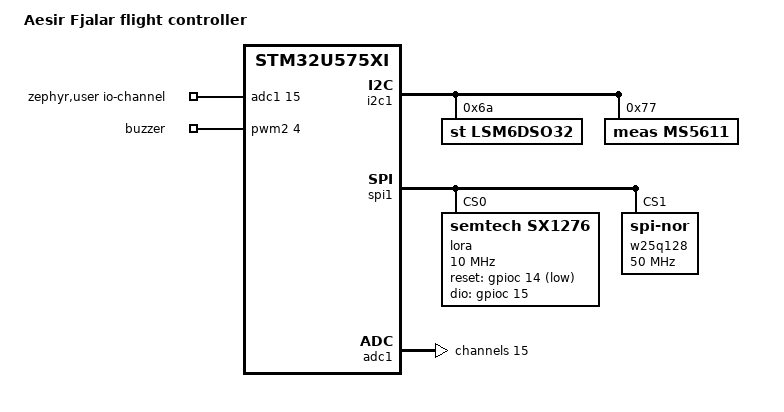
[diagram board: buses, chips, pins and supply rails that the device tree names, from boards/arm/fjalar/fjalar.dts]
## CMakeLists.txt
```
cmake_minimum_required(VERSION 3.20.0)

set(BOARD_ROOT ${CMAKE_CURRENT_LIST_DIR})


if(TEST_BUILD)
    set(EXTRA_CONF_FILE ${CMAKE_CURRENT_LIST_DIR}/testing/preferences.conf)
else()
    set(EXTRA_CONF_FILE ${CMAKE_CURRENT_LIST_DIR}/preferences.conf)
endif()

list(APPEND EXTRA_ZEPHYR_MODULES
    ${CMAKE_CURRENT_SOURCE_DIR}/modules/dummysensor
    ${CMAKE_CURRENT_SOURCE_DIR}/modules/hilsensor
    ${CMAKE_CURRENT_SOURCE_DIR}/modules/ms5611
)

find_package(Zephyr REQUIRED HINTS $ENV{ZEPHYR_BASE})

project(fjalar)

add_subdirectory(../common ../build/common)

add_subdirectory(lib)

# main
target_sources(app PRIVATE
    src/flight_state.c
    src/sensors.c
    src/communication.c
    src/commands.c
    src/actuation.c
    src/filter.c
    src/hello.cpp
    src/aerodynamics.c
)

if(TEST_BUILD)
    message(STATUS "Building test")
    target_sources(app PRIVATE
        testing/test_main.c
    )
else()
    message(STATUS "Building app")
    target_sources(app PRIVATE
        src/main.c
    )
endif()


target_link_libraries(app PRIVATE protocol)
target_link_libraries(app PRIVATE minmea)
```

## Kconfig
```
menu "Zephyr"
source "Kconfig.zephyr"
endmenu

rsource "../common/Kconfig"


config BUZZER_ENABLED
    bool "Enable buzzer"
    default y
config DELAYED_START
    bool "delay start"
    default n

choice
	prompt "Boot state"
	config BOOT_STATE_IDLE
		bool "boot to idle"
	config BOOT_STATE_LAUNCHPAD
		bool "boot to launchpad"
endchoice

config APP_SENSORS_LOG_LEVEL
    int "Application sensors log level"
    default 0 if APP_SENSORS_LOG_LEVEL_OFF
    default 1 if APP_SENSORS_LOG_LEVEL_ERR
    default 2 if APP_SENSORS_LOG_LEVEL_WRN
    default 3 if APP_SENSORS_LOG_LEVEL_INF
    default 4 if APP_SENSORS_LOG_LEVEL_DBG
    default 2
    depends on LOG

config APP_ACTUATION_LOG_LEVEL
    int "Application filter log level"
    default 0 if APP_ACTUATION_LOG_LEVEL_OFF
    default 1 if APP_ACTUATION_LOG_LEVEL_ERR
    default 2 if APP_ACTUATION_LOG_LEVEL_WRN
    default 3 if APP_ACTUATION_LOG_LEVEL_INF
    default 4 if APP_ACTUATION_LOG_LEVEL_DBG
    default 2
    depends on LOG

config APP_FILTER_LOG_LEVEL
    int "Application filter log level"
    default 0 if APP_FILTER_LOG_LEVEL_OFF
    default 1 if APP_FILTER_LOG_LEVEL_ERR
    default 2 if APP_FILTER_LOG_LEVEL_WRN
    default 3 if APP_FILTER_LOG_LEVEL_INF
    default 4 if APP_FILTER_LOG_LEVEL_DBG
    default 2
    depends on LOG

config APP_FLIGHT_LOG_LEVEL
    int "Application flight state log level"
    default 0 if APP_FLIGHT_LOG_LEVEL_OFF
    default 1 if APP_FLIGHT_LOG_LEVEL_ERR
    default 2 if APP_FLIGHT_LOG_LEVEL_WRN
    default 3 if APP_FLIGHT_LOG_LEVEL_INF
    default 4 if APP_FLIGHT_LOG_LEVEL_DBG
    default 2
    depends on LOG

config APP_MAIN_LOG_LEVEL
    int "Application main log level"
    default 0 if APP_MAIN_LOG_LEVEL_OFF
    default 1 if APP_MAIN_LOG_LEVEL_ERR
    default 2 if APP_MAIN_LOG_LEVEL_WRN
    default 3 if APP_MAIN_LOG_LEVEL_INF
    default 4 if APP_MAIN_LOG_LEVEL_DBG
    default 2
    depends on LOG


config APP_COMMANDS_LOG_LEVEL
    int "Application commands log level"
    default 0 if APP_COMMANDS_LOG_LEVEL_OFF
    default 1 if APP_COMMANDS_LOG_LEVEL_ERR
    default 2 if APP_COMMANDS_LOG_LEVEL_WRN
    default 3 if APP_COMMANDS_LOG_LEVEL_INF
    default 4 if APP_COMMANDS_LOG_LEVEL_DBG
    default 2
    depends on LOG


config APP_COMMUNICATION_LOG_LEVEL
    int "Application communication log level"
    default 0 if APP_COMMUNICATION_LOG_LEVEL_OFF
    default 1 if APP_COMMUNICATION_LOG_LEVEL_ERR
    default 2 if APP_COMMUNICATION_LOG_LEVEL_WRN
    default 3 if APP_COMMUNICATION_LOG_LEVEL_INF
    default 4 if APP_COMMUNICATION_LOG_LEVEL_DBG
    default 2
    depends on LOG
```

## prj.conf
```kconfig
# CONFIG_THREAD_ANALYZER=y
# CONFIG_THREAD_ANALYZER_USE_PRINTK=y
# CONFIG_THREAD_NAME=y
# CONFIG_THREAD_ANALYZER_AUTO=y
# CONFIG_THREAD_ANALYZER_AUTO_INTERVAL=5

CONFIG_LOG=y
# CONFIG_LOG_BACKEND_UART=n add when using USB to Fjalar instead of connecting to sensors
CONFIG_LOG_MODE_DEFERRED=y
CONFIG_LOG_BUFFER_SIZE=4096

CONFIG_ZSL=y
CONFIG_ZSL_SINGLE_PRECISION=y
CONFIG_ZSL_VECTOR_INLINE=y
CONFIG_ZSL_MATRIX_INLINE=y

CONFIG_DEBUG=y
CONFIG_DEBUG_OPTIMIZATIONS=y

CONFIG_ISR_STACK_SIZE=4096

CONFIG_CAN=y
CONFIG_CAN_FD_MODE=y

CONFIG_ZBUS=y
CONFIG_ZBUS_MSG_SUBSCRIBER=y

# I do not like heaps but idk
CONFIG_ZBUS_MSG_SUBSCRIBER_BUF_ALLOC_STATIC=y
CONFIG_ZBUS_MSG_SUBSCRIBER_NET_BUF_POOL_SIZE=32
CONFIG_ZBUS_MSG_SUBSCRIBER_NET_BUF_STATIC_DATA_SIZE=128

CONFIG_CRC=y

CONFIG_CPP=y

CONFIG_REQUIRES_FULL_LIBCPP=y

CONFIG_COMPILER_OPT="-Wno-double-promotion"
```

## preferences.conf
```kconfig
CONFIG_BUZZER_ENABLED=n

CONFIG_PROTOCOL_LOG_LEVEL_INF=y
CONFIG_MINMEA_LOG_LEVEL_INF=y
CONFIG_APP_ACTUATION_LOG_LEVEL_INF=y
CONFIG_APP_FILTER_LOG_LEVEL_INF=y
CONFIG_APP_FLIGHT_LOG_LEVEL_INF=y
CONFIG_APP_MAIN_LOG_LEVEL_INF=y
CONFIG_APP_SENSORS_LOG_LEVEL_INF=y
CONFIG_APP_COMMUNICATION_LOG_LEVEL_INF=y
CONFIG_APP_COMMANDS_LOG_LEVEL_INF=y
CONFIG_APP_AERODYNAMICS_LOG_LEVEL_INF=y

#CONFIG_DUMMYSENSOR_AESIR=n # bad venting
#CONFIG_DUMMYSENSOR_ASAT=y # bad venting
#CONFIG_DUMMYSENSOR_ASTG=y # mid venting, liquid
#CONFIG_DUMMYSENSOR_BRISTOL=y # mid venting, liquid
#CONFIG_DUMMYSENSOR_FARADAY=y # good venting, liquid
#CONFIG_DUMMYSENSOR_RED=y # very good venting
```

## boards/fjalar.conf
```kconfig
CONFIG_LOG=y
CONFIG_CBPRINTF_FP_SUPPORT=y

CONFIG_FPU=y
CONFIG_FPU_SHARING=y

CONFIG_SERIAL=y
# CONFIG_UART_INTERRUPT_DRIVEN=y
CONFIG_UART_WIDE_DATA=y
CONFIG_CONSOLE=y
CONFIG_UART_CONSOLE=y
CONFIG_POLL=y

CONFIG_I2C=y

CONFIG_GPIO=y

CONFIG_ADC=y

CONFIG_SENSOR=y
CONFIG_MS5611=y
# CONFIG_MS5607=y
# CONFIG_MS5607_PRES_OVER_2048X=y
# CONFIG_MS5607_TEMP_OVER_2048X=y

CONFIG_LSM6DSO=y

CONFIG_SPI=y
CONFIG_FLASH=y

CONFIG_PWM=y
CONFIG_LED=y

CONFIG_LORA=y
CONFIG_LORA_SX127X=y
CONFIG_LORA_LOG_LEVEL_DBG=y

CONFIG_NEWLIB_LIBC=y # for trigonometric functions

CONFIG_BOOT_STATE_IDLE=y
CONFIG_DELAYED_START=y

CONFIG_SENSOR=y

CONFIG_USB_DEVICE_STACK=y
CONFIG_USB_DEVICE_PRODUCT="Fjalar Log"
CONFIG_USB_DEVICE_PID=0x0004
CONFIG_USB_DEVICE_INITIALIZE_AT_BOOT=y


CONFIG_PM=y
```

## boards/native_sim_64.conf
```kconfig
CONFIG_LOG=y
CONFIG_CBPRINTF_FP_SUPPORT=y

CONFIG_SERIAL=y
CONFIG_CONSOLE=y
CONFIG_UART_CONSOLE=y
CONFIG_POLL=y

CONFIG_GPIO=y

CONFIG_I2C=y

CONFIG_SENSOR=y

CONFIG_SPI=y
CONFIG_FLASH=y

CONFIG_DUMMYSENSOR=y

# CONFIG_PWM=y

CONFIG_UART_NATIVE_POSIX=y
CONFIG_UART_NATIVE_POSIX_PORT_1_ENABLE=y
# CONFIG_NATIVE_UART_1_ON_OWN_PTY=y

# CONFIG_NATIVE_UART_0_ON_OWN_PTY=y
# CONFIG_NATIVE_UART_0_ON_STDINOUT=y
CONFIG_SYS_CLOCK_TICKS_PER_SEC=1000

CONFIG_DEBUG=y
CONFIG_DEBUG_OPTIMIZATIONS=y

CONFIG_BOOT_STATE_LAUNCHPAD=y
# CONFIG_FUSE_FS_ACCESS=y

CONFIG_DELAYED_START=n

CONFIG_USB_DEVICE_STACK=y
CONFIG_USB_DEVICE_PRODUCT="Fjalar Log"
CONFIG_USB_DEVICE_PID=0x0004

CONFIG_FLASH_SIMULATOR=y
```

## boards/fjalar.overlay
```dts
/ {
    chosen {
        zephyr,console = &cdc_acm_uart0;
        zephyr,shell = &cdc_acm_uart0;
    };

    aliases {
		io-led = &ioled;
        imu = &lsm6dso32;
        barometer = &ms5611;
		main-usb = &usbotg_fs;
		pyro1 = &pyro1;
		pyro2 = &pyro2;
		pyro3 = &pyro3;
		pyro1-sense = &pyro1_sense;
		pyro2-sense = &pyro2_sense;
		pyro3-sense = &pyro3_sense;
        data-usb = &cdc_acm_uart1;
    };
};


&lsm6dso32 {
    gyro-odr = <4>; //104Hz
    accel-odr = <4>; //104Hz
    accel-range = <1>; //16g
    gyro-range = <6>; //2000dps
    accel-pm = <0>; //high performance
    gyro-pm = <0>; //high performance
};


&usbotg_fs {
    cdc_acm_uart0: cdc_acm_uart0 {
        compatible = "zephyr,cdc-acm-uart";
    };
    cdc_acm_uart1: cdc_acm_uart1 {
        compatible = "zephyr,cdc-acm-uart";
    };
};
```

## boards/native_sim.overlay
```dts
/ {
    chosen {
        // zephyr,console = &uart0;
		// zephyr,shell-uart = &uart0;
    };
    aliases {
        imu = &dummysensor;
        barometer = &dummysensor;
        external-uart = &uart1;
        io-led = &ioled;
        main-usb = &zephyr_udc0;
        pyro1 = &pyro1;
        pyro2 = &pyro2;
        pyro3 = &pyro3;
        pyro1-sense = &pyro1_sense;
        pyro2-sense = &pyro2_sense;
        pyro3-sense = &pyro3_sense;
        // data-flash = &flashsim;
    };

    dummysensor: dummysensor { 
        compatible = "aesir,hilsensor";
        status = "okay";
        // to be changed ltr
    };

    leds {
		compatible = "gpio-leds";
		ioled: io_led {
			gpios = <&gpio0 6 GPIO_ACTIVE_HIGH>;
		};
	};

    pyros {
        compatible = "gpio-leds";
        pyro1: pyro_1 {
            gpios = <&gpio0 13 GPIO_ACTIVE_HIGH>;
        };
        pyro2: pyro_2 {
            gpios = <&gpio0 12 GPIO_ACTIVE_HIGH>;
        };
        pyro3: pyro_3 {
            gpios = <&gpio0 2 GPIO_ACTIVE_HIGH>;
        };
    };

	pyro_sense {
		compatible = "gpio-keys";
		pyro1_sense: pyro1_sense {
			gpios = <&gpio0 8 GPIO_ACTIVE_LOW>;
		};
		pyro2_sense: pyro2_sense {
			gpios = <&gpio0 15 GPIO_ACTIVE_LOW>;
		};
		pyro3_sense: pyro3_sense {
			gpios = <&gpio0 2 GPIO_ACTIVE_LOW>;
		};
	};

    // flashsim: flashsim {
	// 	status = "okay";
	// 	compatible = "zephyr,sim-flash";
    //     erase-value = <0xff>;
	// 	// size = <0x8000000>;
	// };
};
```

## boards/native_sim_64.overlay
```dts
/ {
    chosen {
        // zephyr,console = &uart0;
		// zephyr,shell-uart = &uart0;
    };
    aliases {
        imu = &dummysensor;
        barometer = &dummysensor;
        external-uart = &uart1;
        io-led = &ioled;
        main-usb = &zephyr_udc0;
        pyro1 = &pyro1;
        pyro2 = &pyro2;
        pyro3 = &pyro3;
        pyro1-sense = &pyro1_sense;
        pyro2-sense = &pyro2_sense;
        pyro3-sense = &pyro3_sense;
        // data-flash = &flashsim;
    };

    dummysensor: dummysensor {
        compatible = "aesir,dummysensor";
        status = "okay";
    };

    leds {
		compatible = "gpio-leds";
		ioled: io_led {
			gpios = <&gpio0 6 GPIO_ACTIVE_HIGH>;
		};
	};

    pyros {
        compatible = "gpio-leds";
        pyro1: pyro_1 {
            gpios = <&gpio0 13 GPIO_ACTIVE_HIGH>;
        };
        pyro2: pyro_2 {
            gpios = <&gpio0 12 GPIO_ACTIVE_HIGH>;
        };
        pyro3: pyro_3 {
            gpios = <&gpio0 2 GPIO_ACTIVE_HIGH>;
        };
    };

	pyro_sense {
		compatible = "gpio-keys";
		pyro1_sense: pyro1_sense {
			gpios = <&gpio0 8 GPIO_ACTIVE_LOW>;
		};
		pyro2_sense: pyro2_sense {
			gpios = <&gpio0 15 GPIO_ACTIVE_LOW>;
		};
		pyro3_sense: pyro3_sense {
			gpios = <&gpio0 2 GPIO_ACTIVE_LOW>;
		};
	};

    // flashsim: flashsim {
	// 	status = "okay";
	// 	compatible = "zephyr,sim-flash";
    //     erase-value = <0xff>;
	// 	// size = <0x8000000>;
	// };
};
```

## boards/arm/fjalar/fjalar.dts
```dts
/dts-v1/;

#include <st/u5/stm32u575Xi.dtsi>
#include <st/u5/stm32u575zitxq-pinctrl.dtsi>
#include "fjalar.dtsi"

/ {

    model = "Aesir Fjalar flight controller";
	compatible = "aesir,fjalar";

	#address-cells = <1>;
	#size-cells = <1>;

	chosen {
		zephyr,console = &uart4;
		zephyr,shell-uart = &uart4;
		zephyr,sram = &sram0;
		zephyr,flash = &flash0;
		zephyr,canbus = &fdcan1;
	};

    aliases {
		led0 = &ioled;
		external-uart = &uart4;
		data-flash = &w25q128;
		gps-uart = &usart1;
		buzzer = &buzzer;
		lora = &lora;

	};

	zephyr,user {
		battery-denominator = <2200>;
		battery-numerator = <12200>;
		io-channels = <&adc1 15>;
	};

	pwmleds: pwmleds {
		compatible = "pwm-leds";
		status = "okay";

		buzzer: buzzer {
			pwms = <&pwm2 4 PWM_MSEC(20) PWM_POLARITY_NORMAL>;
		};
	};
};

&i2c1 {
	lsm6dso32: lsm6dso32@6a {
		status = "okay";
		compatible = "st,lsm6dso32", "st,lsm6dso";
		reg = <0x6a>;
	};

	ms5611: ms5611@77 {
		status = "okay";
		compatible = "meas,ms5611";
		reg = <0x77>;
	};
};

&spi1 {
	lora: lora@0 {
		compatible ="semtech,sx1276";
		reg = <0>;
		spi-max-frequency = <10000000>;
		status = "okay";
		reset-gpios = <&gpioc 14 GPIO_ACTIVE_LOW>;
		dio-gpios = <&gpioc 15 GPIO_ACTIVE_HIGH>;
		power-amplifier-output = "pa-boost";
	};

	w25q128: w25q128@1 {
		compatible ="jedec,spi-nor";
		size = <0x8000000>;
		reg = <1>;
		spi-max-frequency = <50000000>;
		status = "okay";
		jedec-id = [ef 70 18];
	};
};

&adc1 {
	#address-cells = <1>;
	#size-cells = <0>;
	status = "okay";
	st,adc-prescaler = <1>;

	channel@F {
		reg = <15>; //15
		zephyr,gain = "ADC_GAIN_1";
		zephyr,reference = "ADC_REF_INTERNAL";
		zephyr,acquisition-time = <ADC_ACQ_TIME_DEFAULT>;
		zephyr,resolution = <14>;
		zephyr,oversampling = <4>;
		status = "okay";
	};
};
```

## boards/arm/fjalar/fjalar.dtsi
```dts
#include <st/u5/stm32u575Xi.dtsi>
#include <st/u5/stm32u575zitxq-pinctrl.dtsi>

/ {
	leds {
		compatible = "gpio-leds";
		ioled: io_led {
			gpios = <&gpioa 6 GPIO_ACTIVE_HIGH>;
		};
	};

    pyros {
        compatible = "gpio-leds";
        pyro1: pyro_1 {
            gpios = <&gpiob 2 GPIO_ACTIVE_HIGH>;
        };
        pyro2: pyro_2 {
            gpios = <&gpiob 12 GPIO_ACTIVE_HIGH>;
        };
        pyro3: pyro_3 {
            gpios = <&gpiob 13 GPIO_ACTIVE_HIGH>;
        };
    };

	pyro_sense {
		compatible = "gpio-keys";
		pyro1_sense: pyro1_sense {
			gpios = <&gpioa 2 GPIO_ACTIVE_LOW>;
		};
		pyro2_sense: pyro2_sense {
			gpios = <&gpiob 15 GPIO_ACTIVE_LOW>;
		};
		pyro3_sense: pyro3_sense {
			gpios = <&gpioa 8 GPIO_ACTIVE_LOW>;
		};
	};
};

&usbotg_fs {
	pinctrl-0 = <&usb_otg_fs_dm_pa11 &usb_otg_fs_dp_pa12>;
	pinctrl-names = "default";
	status = "okay";
};

&usart1 {
	pinctrl-0 = <&usart1_tx_pa9 &usart1_rx_pa10>;
	pinctrl-names = "default";
	current-speed = <9600>;
	status = "okay";
	gnss: gnss-nmea-generic {
			compatible = "gnss-nmea-generic";
	};
	gnss_pps: gnss-pss {
		compatible = "gnss-pps";
	};
};

&gpdma1 {
	status = "okay";
};

// &clk_hsi48 {
// 	status = "okay";
// };

// &clk_hse {
// 	status = "okay";
// 	clock-frequency = <DT_FREQ_M(48)>;
// };

// &clk_msis {
// 	status = "okay";
// 	msi-range = <4>;
// 	msi-pll-mode;
// };

// &pll1 {
// 	div-m = <3>;
// 	mul-n = <10>;
// 	div-q = <2>;
// 	div-r = <1>;
// 	clocks = <&clk_hse>;
// 	status = "okay";
// };

// &rcc {
// 	clocks = <&pll1>;
// 	clock-frequency = <DT_FREQ_M(160)>;
// 	ahb-prescaler = <1>;
// 	apb1-prescaler = <1>;
// 	apb2-prescaler = <1>;
// 	apb3-prescaler = <1>;
// };

&clk_hsi48 {
	status = "okay";
};

&clk_lse {
	status = "okay";
};

&clk_msis {
	status = "okay";
	msi-range = <4>;
	msi-pll-mode;
};

&pll1 {
	div-m = <1>;
	mul-n = <80>;
	div-q = <2>;
	div-r = <2>;
	clocks = <&clk_msis>;
	status = "okay";
};

&rcc {
	clocks = <&pll1>;
	clock-frequency = <DT_FREQ_M(160)>;
	ahb-prescaler = <1>;
	apb1-prescaler = <1>;
	apb2-prescaler = <1>;
	apb3-prescaler = <1>;
};

&uart4 {
    pinctrl-0 = <&uart4_tx_pa0 &uart4_rx_pa1>;
	pinctrl-names = "default";
	current-speed = <115200>;
	status = "okay";
};

&i2c1 {
	pinctrl-0 = <&i2c1_scl_pb6 &i2c1_sda_pb7>;
	pinctrl-names = "default";
	status = "okay";
	clock-frequency = <I2C_BITRATE_FAST>;
};

&i2c2 {
	pinctrl-0 = <&i2c2_scl_pb10 &i2c2_sda_pb14>;
	pinctrl-names = "default";
	status = "okay";
	clock-frequency = <I2C_BITRATE_FAST>;
};

&spi1 {
	pinctrl-0 = <&spi1_sck_pb3
			&spi1_miso_pb4 &spi1_mosi_pb5>;
	pinctrl-names = "default";
	cs-gpios = <&gpioc 13 GPIO_ACTIVE_LOW>, <&gpioa 15 GPIO_ACTIVE_LOW>;
	clock-frequency = <50000000>;
	status = "okay";
};

&adc1 {
	pinctrl-0 = <&adc1_in15_pb0>;
	pinctrl-names = "default";
};

&timers2 {
	st,prescaler = <1000>;
	status = "okay";

	pwm2: pwm {
		status = "okay";
		pinctrl-0 = <&tim2_ch4_pa3>;
		pinctrl-names = "default";
	};
};

&iwdg {
	status = "okay";
};

&rng {
	status = "okay";
};

&fdcan1 {
	clocks = <&rcc STM32_CLOCK_BUS_APB1_2 0x00000200>,
		 <&rcc STM32_SRC_PLL1_Q FDCAN1_SEL(1)>;
	pinctrl-0 = <&fdcan1_rx_pb8 &fdcan1_tx_pb9>;
	pinctrl-names = "default";
	bus-speed = <125000>;
	bus-speed-data = <1000000>;
	status = "okay";
};
```

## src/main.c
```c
/*
This is the main script, its purpose is to:
1) Declare the structures which will be used to store information throughout the script.
2) Initiate the different scripts by starting their threads and distributing their structure pointers through the god struct (fjalar).
*/

#include <zephyr/kernel.h>
#include <zephyr/drivers/gpio.h>
#include <zephyr/drivers/uart.h>
#include <zephyr/logging/log.h>
#include <zephyr/drivers/sensor.h>
#include <stdio.h>
#include <math.h>

#include "fjalar.h"
#include "sensors.h"
#include "flight_state.h"
#include "com_master.h"
#include "actuation.h"
#include "init.h"
#include "aerodynamics.h"
#include "flight_state.h"
#include "control.h"
#include "com_can.h"
#include "com_lora.h"

LOG_MODULE_REGISTER(main, LOG_LEVEL_INF);

static init_t            init_obj;
static control_t		 control_obj;
static can_t			 can_obj;
static lora_t			 lora_obj;

fjalar_t fjalar_god = {
	.ptr_init         = &init_obj,
	.ptr_control	  = &control_obj,
	.ptr_can	      = &can_obj,
	.ptr_lora		  = &lora_obj,
};

int main(void) {
	#ifdef CONFIG_DELAYED_START
	const int delay = 5;
	for (int i = 0; i < delay; i++) {
		printk("%d\n", delay - i);
		k_msleep(1000);
	}
	#endif
	printk("Started\n");

	fjalar_god.sudo = false;
	init_flight_state(&fjalar_god);
	init_communication(&fjalar_god);
	init_actuation(&fjalar_god);
	init_can(&fjalar_god);
	return 0;
}
```

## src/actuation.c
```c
/*
This is the actuation script, its purpose is to:
1) Control hardware such as buzzer and led. One can, if he has the humour for it, play a little song on Fjalar.
*/
#include <zephyr/kernel.h>
#include <zephyr/logging/log.h>
#include <zephyr/drivers/gpio.h>
#include <zephyr/drivers/pwm.h>
#include <zephyr/zbus/zbus.h>
#include <math.h>
#include <stdlib.h>

#include "fjalar.h"
#include "melodies.h"
#include "flight_state.h"

LOG_MODULE_REGISTER(actuation, LOG_LEVEL_INF);

#define LED_THREAD_PRIORITY 7
#define LED_THREAD_STACK_SIZE 2048

#define BUZZER_THREAD_PRIORITY 7
#define BUZZER_THREAD_STACK_SIZE 2048

#define PYRO_THREAD_PRIORITY 7
#define PYRO_THREAD_STACK_SIZE 2048

K_THREAD_STACK_DEFINE(led_thread_stack, LED_THREAD_STACK_SIZE);
struct k_thread led_thread_data;
k_tid_t led_thread_id;
void led_thread(fjalar_t *fjalar, void *, void *);

K_THREAD_STACK_DEFINE(buzzer_thread_stack, BUZZER_THREAD_STACK_SIZE);
struct k_thread buzzer_thread_data;
k_tid_t buzzer_thread_id;
void buzzer_thread(fjalar_t *fjalar, void *, void *);

K_THREAD_STACK_DEFINE(pyro_thread_stack, PYRO_THREAD_STACK_SIZE);
struct k_thread pyro_thread_data;
k_tid_t pyro_thread_id;
void pyro_thread(fjalar_t *fjalar, void *, void *);

volatile bool terminate_actuation = false;

void init_actuation(fjalar_t *fjalar) {
    terminate_actuation = false;
    led_thread_id = k_thread_create(
		&led_thread_data,
		led_thread_stack,
		K_THREAD_STACK_SIZEOF(led_thread_stack),
		(k_thread_entry_t) led_thread,
		fjalar, NULL, NULL,
		LED_THREAD_PRIORITY, 0, K_NO_WAIT
	);
	k_thread_name_set(led_thread_id, "led");

    pyro_thread_id = k_thread_create(
		&pyro_thread_data,
		pyro_thread_stack,
		K_THREAD_STACK_SIZEOF(pyro_thread_stack),
		(k_thread_entry_t) pyro_thread,
		fjalar, NULL, NULL,
		PYRO_THREAD_PRIORITY, 0, K_NO_WAIT
	);
	k_thread_name_set(pyro_thread_id, "pyro");

	#if DT_ALIAS_EXISTS(buzzer)
    buzzer_thread_id = k_thread_create(
		&buzzer_thread_data,
		buzzer_thread_stack,
		K_THREAD_STACK_SIZEOF(buzzer_thread_stack),
		(k_thread_entry_t) buzzer_thread,
		fjalar, NULL, NULL,
		BUZZER_THREAD_PRIORITY, 0, K_NO_WAIT
	);
	k_thread_name_set(buzzer_thread_id, "buzzer");
	#endif
}

int deinit_actuation() {
    terminate_actuation = true;
    int e;
    e = k_thread_join(&led_thread_data, K_MSEC(1000));
    e |= k_thread_join(&pyro_thread_data, K_MSEC(1000));
    e |= k_thread_join(&buzzer_thread_data, K_MSEC(1000));
    return e;
}

void led_thread(fjalar_t *fjalar, void *p2, void *p3) {
    const struct gpio_dt_spec io_led_dt = GPIO_DT_SPEC_GET(DT_ALIAS(io_led), gpios);
    int ret = 0;
    ret |= gpio_pin_configure_dt(&io_led_dt, GPIO_OUTPUT_ACTIVE);
    if (ret) {
        LOG_ERR("Could not configure the IO-led");
    }

    while (true) {
        gpio_pin_toggle_dt(&io_led_dt);
        k_msleep(1000);
    }
}

void set_pyro(fjalar_t *fjalar, int pyro, bool state) {
    switch (pyro) {
        case 1: // Drouge parachute
            const struct gpio_dt_spec pyro1_dt = GPIO_DT_SPEC_GET(DT_ALIAS(pyro1), gpios);
            gpio_pin_set_dt(&pyro1_dt, state);
            break;

        case 2: // Main parachute
            const struct gpio_dt_spec pyro2_dt = GPIO_DT_SPEC_GET(DT_ALIAS(pyro2), gpios);
            gpio_pin_set_dt(&pyro2_dt, state);
            break;

        case 3:
            const struct gpio_dt_spec pyro3_dt = GPIO_DT_SPEC_GET(DT_ALIAS(pyro3), gpios);
            gpio_pin_set_dt(&pyro3_dt, state);
            break;
        default:
            LOG_ERR("tried to enable invalid pyro %d", pyro);
    }
}

void pyro_thread(fjalar_t *fjalar, void *p2, void *p3) {
    const struct gpio_dt_spec pyro1_dt = GPIO_DT_SPEC_GET(DT_ALIAS(pyro1), gpios);
    const struct gpio_dt_spec pyro2_dt = GPIO_DT_SPEC_GET(DT_ALIAS(pyro2), gpios);
    const struct gpio_dt_spec pyro3_dt = GPIO_DT_SPEC_GET(DT_ALIAS(pyro3), gpios);
    const struct gpio_dt_spec pyro1_sense_dt = GPIO_DT_SPEC_GET(DT_ALIAS(pyro1_sense), gpios);
    const struct gpio_dt_spec pyro2_sense_dt = GPIO_DT_SPEC_GET(DT_ALIAS(pyro2_sense), gpios);
    const struct gpio_dt_spec pyro3_sense_dt = GPIO_DT_SPEC_GET(DT_ALIAS(pyro3_sense), gpios);

    int ret = 0;
    ret |= gpio_pin_set_dt(&pyro1_dt, 0);
    ret |= gpio_pin_set_dt(&pyro2_dt, 0);
    ret |= gpio_pin_set_dt(&pyro3_dt, 0);
    ret |= gpio_pin_configure_dt(&pyro1_dt, GPIO_OUTPUT_INACTIVE); // dangerous (ACTIVE), i switched it to inactive
    ret |= gpio_pin_configure_dt(&pyro2_dt, GPIO_OUTPUT_INACTIVE); // dangerous (ACTIVE)?
    ret |= gpio_pin_configure_dt(&pyro3_dt, GPIO_OUTPUT_INACTIVE); // dangerous (ACTIVE)?
    ret |= gpio_pin_set_dt(&pyro1_dt, 0);
    ret |= gpio_pin_set_dt(&pyro2_dt, 0);
    ret |= gpio_pin_set_dt(&pyro3_dt, 0);

    ret |= gpio_pin_configure_dt(&pyro1_sense_dt, GPIO_INPUT);
    ret |= gpio_pin_configure_dt(&pyro2_sense_dt, GPIO_INPUT);
    ret |= gpio_pin_configure_dt(&pyro3_sense_dt, GPIO_INPUT);
    if (ret) {
        LOG_ERR("Could not configure pyro pins");
    }

    while (true) {
        fjalar->pyro1_sense = gpio_pin_get_dt(&pyro1_sense_dt);
        fjalar->pyro2_sense = gpio_pin_get_dt(&pyro2_sense_dt);
        fjalar->pyro3_sense = gpio_pin_get_dt(&pyro3_sense_dt);
        LOG_INF("pyros connected p1:%d p2:%d p3:%d", fjalar->pyro1_sense, fjalar->pyro2_sense, fjalar->pyro3_sense);
        k_msleep(500);
    }
}


void play_song(const struct pwm_dt_spec *buzzer_dt, int melody[], int size, int tempo) {
        int notes=size/sizeof(melody[0])/2;
        int wholenote = (60000 * 4) / tempo;

        int divider = 0, noteDuration = 0;

        for (int thisNote = 0; thisNote < notes * 2; thisNote = thisNote + 2) {
            divider = melody[thisNote + 1];
            if (divider > 0) {
            noteDuration = (wholenote) / divider;
            } else if (divider < 0) {
            noteDuration = (wholenote) / abs(divider);
            noteDuration *= 1.5; // increases the duration in half for dotted notes
            }

            int period = 1e9 / melody[thisNote];
            pwm_set_dt(buzzer_dt, period, period / 2);
            k_msleep(noteDuration * 0.9);
            pwm_set_dt(buzzer_dt, period, 0);
            k_msleep(noteDuration * 0.1);
        }
        k_msleep(1000);
}

#if DT_ALIAS_EXISTS(buzzer)
void buzzer_thread(fjalar_t *fjalar, void *p2, void *p3) {
    #if !CONFIG_BUZZER_ENABLED
    LOG_INF("Buzzer disabled");
    return;
    #endif
    int err;
    const struct pwm_dt_spec buzzer_dt = PWM_DT_SPEC_GET(DT_ALIAS(buzzer));
    if (!device_is_ready(buzzer_dt.dev)) {
        LOG_ERR("buzzer is not ready");
        return;
    }

    uint32_t center_period = 1e9 / 2000;
    err = pwm_set_dt(&buzzer_dt, center_period, 0);
    if (err) {
        LOG_ERR("Could not set buzzer");
    }

    // Track the last known flight state
    struct flight_state_output_msg state_data = {0};

    while (true) {
        zbus_chan_read(&flight_state_output_zchan, &state_data, K_NO_WAIT);
        // If read fails, reuse last state_data
        if (fjalar->sudo) {
                play_song(&buzzer_dt, doom_melody, sizeof(doom_melody), doom_tempo);
                k_msleep(1000);
                continue;
        }
        switch (state_data.flight_state) {
            case STATE_LANDED:
                play_song(&buzzer_dt, nokia_melody, sizeof(nokia_melody), nokia_tempo);
                k_msleep(1000);
                break;

            case STATE_IDLE:
                play_song(&buzzer_dt, greensleeves_melody, sizeof(greensleeves_melody), greensleeves_tempo);
                k_msleep(1000);
                break;

            case STATE_INITIATED:
                play_song(&buzzer_dt, keyboardcat_melody, sizeof(keyboardcat_melody), keyboardcat_tempo);
                k_msleep(1000);
                break;

            default:
                err = pwm_set_dt(&buzzer_dt, center_period, center_period / 2);
                k_msleep(100);
                err = pwm_set_dt(&buzzer_dt, center_period, 0);
                k_msleep(100);
                err = pwm_set_dt(&buzzer_dt, center_period, center_period / 2);
                k_msleep(100);
                err = pwm_set_dt(&buzzer_dt, center_period, 0);
                k_msleep(1500);
        }
    }
}
#endif
```

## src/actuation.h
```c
#pragma once

#include "fjalar.h"
#include "flight_state.h"

void set_pyro(fjalar_t *fjalar, int pyro, bool state);

void init_actuation(fjalar_t *fjalar);
```

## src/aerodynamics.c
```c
/*
This is the aerodynamics script, its purpose is to:
1) Given the state estimate and the flight state, perform analysis related to aerodynamics such as finding out expected apogee,
then save this in its struct to be used by other scripts.
The aerodynamic constants are rocket specific, it is critical that these are looked over carefully before each launch.
*/

#include <zephyr/kernel.h>
#include <zephyr/drivers/sensor.h>
#include <pla.h>
#include <zephyr/logging/log.h>
#include <zephyr/zbus/zbus.h>
#include <math.h>

#include "fjalar.h"
#include "sensors.h"
#include "init.h"
#include "filter.h"
#include "aerodynamics.h"
#include "flight_state.h"

LOG_MODULE_REGISTER(aerodynamics, LOG_LEVEL_INF);

#define AERODYNAMICS_THREAD_PRIORITY 7
#define AERODYNAMICS_THREAD_STACK_SIZE 4096

void aerodynamics_thread(fjalar_t *fjalar, void *p2, void *p1);
ZBUS_CHAN_DEFINE(aero_chan,                          /* Name */
                 struct aerodynamics_output_msg,     /* Message type */
                 NULL,                               /* Validator */
                 NULL,                               /* User Data */
                 ZBUS_OBS_DECLARE(),                 /* Observers (can be empty if using read) */
                 ZBUS_MSG_INIT(0)                    /* Initial Value */
);
K_THREAD_STACK_DEFINE(aerodynamics_thread_stack, AERODYNAMICS_THREAD_STACK_SIZE);
struct k_thread aerodynamics_thread_data;
k_tid_t aerodynamics_thread_id;


void init_aerodynamics(fjalar_t *fjalar) {
    aerodynamics_thread_id = k_thread_create(
		&aerodynamics_thread_data,
		aerodynamics_thread_stack,
		K_THREAD_STACK_SIZEOF(aerodynamics_thread_stack),
		(k_thread_entry_t) aerodynamics_thread,
		fjalar, NULL, NULL,
		AERODYNAMICS_THREAD_PRIORITY, 0, K_NO_WAIT
	);
	k_thread_name_set(aerodynamics_thread_id, "aerodynamics");
}


// might come in handy in future
/*
float pressure_to_AGL(position_filter_t *pos_kf, aerodynamics_t *aerodynamics, float pressure){
    const float p0 = init->pressure_ground;
    const float T0 = 288.15f;
    const float L  = 0.0065f;
    const float g = 9.81f;
    const float R = 287.05f;

    float AGL = (T0/L) * (1-powf(pressure / p0, R * L / g));
    return AGL;
}
*/

void drag_init(struct aerodynamics_output_msg *aerodynamics){
    float drag_init[3] = {0,0,0};
    // First initialize drag_data to zeros
    memcpy(aerodynamics->drag_data, drag_init, sizeof(drag_init));
    // Then copy from drag_data to drag.data (both are arrays)
    memcpy(aerodynamics->drag.data, aerodynamics->drag_data, sizeof(aerodynamics->drag_data));
    // Set the matrix dimensions
    aerodynamics->drag.sz_rows = 3;
    aerodynamics->drag.sz_cols = 1;
}

void drag_update(struct filter_output_msg *filter_data, struct aerodynamics_output_msg *aerodynamics){
    // velocity norm
    ZSL_MATRIX_DEF(v, 3, 1);
    v.data[0] = filter_data->velocity[0];
	v.data[1] = filter_data->velocity[1];
	v.data[2] = filter_data->velocity[2];
    float v_norm = filter_data->v_norm;

    if (v_norm > 1e-6f){

        // velocity unit vector
        ZSL_MATRIX_DEF(v_unit, 3, 1);
        zsl_mtx_copy(&v_unit, &v);
        zsl_mtx_scalar_mult_d(&v_unit, 1.0f/v_norm);

        // air density
        float z = filter_data->position[2];
        float rho = air_density_at(z);

        // drag coefficient
        float c_d;
        if (v_norm>5){c_d = cd_at(v_norm);} // TODO: implement angle dependent drag coeff!
        else{c_d = 0.44;}

        // rotational matrix
        float phi   = filter_data->attitude[0];  // roll
		float theta = filter_data->attitude[1];  // pitch
		float psi   = filter_data->attitude[2];  // yaw


        float sp = sinf(phi), cp = cosf(phi);
        float st = sinf(theta), ct = cosf(theta);
        float ss = sinf(psi),  cs = cosf(psi);

        float rotation_data[9] = {
            ct*cs, sp*st*cs - cp*ss, cp*st*cs + sp*ss,
            ct*ss, sp*st*ss + cp*cs, cp*st*ss - sp*cs,
            -st, sp*ct, cp*ct
        };
        struct zsl_mtx rotation = {
            .sz_rows = 3,
            .sz_cols = 3,
            .data = rotation_data
        };

        // scalar part
        float drag_norm = -(0.5/MASS_DRY)*rho*AREA*v_norm*v_norm*c_d;
        aerodynamics->drag_norm = drag_norm;

        // vector part
        ZSL_MATRIX_DEF(drag_vec, 3, 1);
        zsl_mtx_mult(&rotation, &v_unit, &drag_vec);

        // drag vector
        zsl_mtx_scalar_mult_d(&drag_vec, drag_norm);

		memcpy(aerodynamics->drag_data, drag_vec.data, sizeof(aerodynamics->drag_data));
        aerodynamics->drag.sz_rows = 3;
        aerodynamics->drag.sz_cols = 1;
    } else{
    	aerodynamics->drag_norm = 0.0f;
    	aerodynamics->drag_data[0] = aerodynamics->drag_data[1] = aerodynamics->drag_data[2] = 0.0f;
	}
}

void update_thrust(struct filter_output_msg *filter_data, struct aerodynamics_output_msg *aerodynamics, struct flight_state_output_msg state_data){ // will only be correct if run during flight, not before launch

    float N; // normal force induced acceleration
    if (state_data.flight_state == STATE_INITIATED){
        N = aerodynamics->g_physics;
    } else{N = 0;}
    float g = -(aerodynamics->g_physics); // gravitational acceleration
    float D = aerodynamics->drag_norm; // drag acceleration
    float T = 0.0f; // Thrust
    float total_acceleration = filter_data->a_norm;

    if (state_data.flight_state == STATE_INITIATED){
        T = total_acceleration - N;
    }
    if (state_data.flight_state == STATE_BOOST || state_data.flight_state == STATE_COAST){
        T = total_acceleration - g - D;
    }

    if (fabsf(T)>3){
        aerodynamics->thrust_bool = 1; // thrust exists
    } else{
        aerodynamics->thrust_bool = 0; // thrust does not exist
    }
}

void update_apogee_estimate(struct filter_output_msg *filter_data, struct aerodynamics_output_msg *aerodynamics){
    // get data 
    float dt   = 0.01;
    // float a_z0  = filter_data->acceleration[2]; unused

    float x    = filter_data->position[0];
    float y    = filter_data->position[1];
    float z    = filter_data->position[2];
    float xy   = sqrtf(x*x + y*y);

    float v_x  = filter_data->velocity[0];
    float v_y  = filter_data->velocity[1];
    float v_z  = filter_data->velocity[2];
    float v_xy = sqrtf(v_x*v_x + v_y*v_y);

    float a_xy;
    float a_z;

    while (v_z>0){
        // get info
        float v_total = sqrtf((v_xy*v_xy)+(v_z*v_z));
        float c_d;
        float a_drag;

        if (v_total>5){c_d = cd_at(v_total);} 
        else{c_d = 0.44;}

        a_drag = - (air_density_at(z)*c_d*AREA*v_total*v_total) / (2*MASS_DRY); 
        
        float c_b = air_density_at(z)*v_total*v_total / (2*fabsf(a_drag));


        a_xy  = 0.0f;
        a_z   = -GRAVITY-(air_density_at(z)*(v_z*v_z))/(2*c_b);

        v_xy += dt * a_xy;
        v_z  += dt * a_z;

        xy   += dt * v_xy;
        z    += dt * v_z;
    }
    aerodynamics->expected_apogee = z;

}

void update_mach_number(struct filter_output_msg *filter_data, struct aerodynamics_output_msg *aerodynamics){
    float v_sound = sqrtf(aerodynamics->specific_gas_constant_air * aerodynamics->heat_capacity_ratio_air * aerodynamics->temperature_kelvin);
    aerodynamics->v_sound = v_sound;

    float mach_number = (filter_data->v_norm)/v_sound;
    aerodynamics->mach_number = mach_number;
}


void aerodynamics_thread(fjalar_t *fjalar, void *p2, void *p1) {
	struct filter_output_msg filter_data;
	struct flight_state_output_msg state_data = { .flight_state = STATE_IDLE }; // Initialize with default

    // Initialize aerodynamics message with constants
    struct aerodynamics_output_msg aero_msg = {
        .timestamp = 0,
        .drag_norm = 0.0f,
        .expected_apogee = 0.0f,
        .thrust_bool = 0,
        .g_physics = 9.81f,
        .specific_gas_constant_air = 287.0f, // J/(kg*K)
        .heat_capacity_ratio_air = 1.4f,
        .temperature_kelvin = 273.15f + 15.0f,
        .mach_number = 0.0f,
        .v_sound = 0.0f
    };

    drag_init(&aero_msg);
    while (true){

		if (zbus_chan_read(&filter_output_zchan, &filter_data, K_FOREVER) == 0) {
			zbus_chan_read(&flight_state_output_zchan, &state_data, K_NO_WAIT);
    		// got new data
			aero_msg.timestamp = k_uptime_get_32();

        	update_mach_number(&filter_data, &aero_msg);

        	drag_update(&filter_data, &aero_msg); // needs to be updated at all states due to logic in update_thrust

			if (state_data.flight_state != STATE_IDLE && state_data.flight_state != STATE_AWAITING_INIT){
            	update_thrust(&filter_data, &aero_msg, state_data);
        	}
        	if (state_data.flight_state == STATE_COAST){ // only run when thrust is not active
            	update_apogee_estimate(&filter_data, &aero_msg);
        	} else{aero_msg.expected_apogee = 0.0f;}
        	// update_mach_number(&filter_data, &aero_msg);
			// After all calculations (drag_update, update_thrust, etc.)
			zbus_chan_pub(&aero_chan, &aero_msg, K_MSEC(10));
		}
        //zbus_chan_pub(&aero_chan, &aero_msg, K_MSEC(10));

        //k_msleep(10); // 100 Hz
    }
}
```

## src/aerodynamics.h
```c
#pragma once

#include <zsl/interp.h>   /* zsl_interp_lin_y_arr() */
#include <zephyr/kernel.h>
#include "filter.h"
#include "flight_state.h"
#include <zephyr/zbus/zbus.h>

ZBUS_CHAN_DECLARE(aero_chan);

typedef struct fjalar fjalar_t;
//typedef struct init init_t;
//typedef struct state state_t;

typedef struct aerodynamics_msg_matrix {
    float data[3];  // 3x1 vector
    size_t sz_rows;
    size_t sz_cols;
} aerodynamics_msg_matrix;

typedef struct aerodynamics_output_msg {
    uint32_t timestamp;
    float drag_data[3]; // acceleration, not force
    struct aerodynamics_msg_matrix drag; // drag induced acceleration in local frame
    float drag_norm;
    float expected_apogee;
    uint8_t thrust_bool;
    float g_physics;
    float temperature_kelvin;
    float specific_gas_constant_air;
    float heat_capacity_ratio_air;
    float v_sound;
    float mach_number;
} aerodynamics_output_msg;


/*
typedef struct aerodynamics {
    zsl_real_t drag_data[3]; // acceleration, not force!
    struct zsl_mtx drag; // drag induced acceleration in local frame
    float drag_norm;
    float expected_apogee; // predicted apogee based on drag model
    bool thrust_bool; // true if there is thrust, false if no thrust.
    float g_physics;

    float temperature_kelvin;
    float specific_gas_constant_air;
    float heat_capacity_ratio_air;
    float v_sound;
    float mach_number;
} aerodynamics_t; */

void init_aerodynamics(fjalar_t *fjalar);

#ifndef AERODYNAMICS_H
#define AERODYNAMICS_H

// change these values to Freyja values
#define MASS_DRY  9 //38 // Freyja
#define GRAVITY 9.81
#define AREA 0.008 // 0.022 // Freyja

static const struct zsl_interp_xy cd_tbl[] = {
    {3.43, 0.445392077},
    {6.86, 0.443396227},
    {10.29, 0.429917833},
    {13.72, 0.423512584},
    {17.15, 0.420851543},
    {20.58, 0.417786495},
    {24.01, 0.414716498},
    {27.44, 0.411778402},
    {30.87, 0.409014917},
    {34.3, 0.40642762},
    {37.73, 0.404018232},
    {41.16, 0.401769047},
    {44.59, 0.399665926},
    {48.02, 0.397695141},
    {51.45, 0.395843979},
    {54.88, 0.394101055},
    {58.31, 0.392456144},
    {61.74, 0.390900263},
    {65.17, 0.389425391},
    {68.6, 0.388024502},
    {72.03, 0.386691304},
    {75.46, 0.385420273},
    {78.89, 0.38420643},
    {82.32, 0.383045391},
    {85.75, 0.381933173},
    {89.18, 0.381039561},
    {92.61, 0.380188027},
    {96.04, 0.379375709},
    {99.47, 0.378600005},
    {102.9, 0.377858488},
    {106.33, 0.377149034},
    {109.76, 0.376469684},
    {113.19, 0.375818617},
    {116.62, 0.375194204},
    {120.05, 0.374594941},
    {123.48, 0.374019381},
    {126.91, 0.373466277},
    {130.34, 0.372934425},
    {133.77, 0.372422742},
    {137.2, 0.371930191},
    {140.63, 0.371455842},
    {144.06, 0.370998799},
    {147.49, 0.370558256},
    {150.92, 0.37013344},
    {154.35, 0.36972365},
    {157.78, 0.369328181},
    {161.21, 0.368946434},
    {164.64, 0.368577814},
    {168.07, 0.368221762},
    {171.5, 0.367877794},
    {174.93, 0.367545363},
    {178.36, 0.367224045},
    {181.79, 0.366913391},
    {185.22, 0.366612997},
    {188.65, 0.36634992},
    {192.08, 0.366476374},
    {195.51, 0.36660295},
    {198.94, 0.366729602},
    {202.37, 0.366856351},
    {205.8, 0.366983199},
    {209.23, 0.367423765},
    {212.66, 0.367853163},
    {216.09, 0.368282658},
    {219.52, 0.368712249},
    {222.95, 0.369141935},
    {226.38, 0.369571718},
    {229.81, 0.370001595},
    {233.24, 0.370431589},
    {236.67, 0.370861656},
    {240.1, 0.371291839},
    {243.53, 0.371722071},
    {246.96, 0.372152374},
    {250.39, 0.372582704},
    {253.82, 0.373013126},
    {257.25, 0.373443552},
    {260.68, 0.373874026},
    {264.11, 0.374304546},
    {267.54, 0.374735114},
    {270.97, 0.375165728},
    {274.4, 0.375596365},
    {277.83, 0.376027049},
    {281.26, 0.376457756},
    {284.69, 0.376888531},
    {288.12, 0.37731935},
    {291.55, 0.37775017},
    {294.98, 0.378181056},
    {298.41, 0.378611964},
    {301.84, 0.379042915},
    {305.27, 0.379473887},
    {308.7, 0.379904925},
    {312.13, 0.382488278},
    {315.56, 0.390238339},
    {318.99, 0.407904087},
    {322.42, 0.431610494},
    {325.85, 0.4553169},
    {329.28, 0.479023306},
    {332.71, 0.502729713},
    {336.14, 0.526436119},
    {339.57, 0.550142525},
    {343, 0.573848932},
    {346.43, 0.597555338},
    {349.86, 0.621261744},
    {353.29, 0.644968151},
    {356.72, 0.668674557},
    {360.15, 0.692380963},
    {363.58, 0.691060853},
    {367.01, 0.689751285},
    {370.44, 0.68845212},
    {373.87, 0.687163217},
    {377.3, 0.685884435},
    {380.73, 0.684615533},
    {384.16, 0.683356467},
    {387.59, 0.682107195},
    {391.02, 0.680867275},
    {394.45, 0.679636963},
    {397.88, 0.677524215},
    {401.31, 0.675391688},
    {404.74, 0.673272037},
    {408.17, 0.671165119},
    {411.6, 0.669070889},
    {415.03, 0.666989003},
    {418.46, 0.664919516},
    {421.89, 0.662862183},
    {425.32, 0.66081706},
    {428.75, 0.6587839},
    {432.18, 0.656767527},
    {435.61, 0.65477127},
    {439.04, 0.652791393},
    {442.47, 0.650827029}
};

#define CD_N (sizeof(cd_tbl)/sizeof(cd_tbl[0]))

static inline zsl_real_t cd_at(zsl_real_t v)
{
    zsl_real_t cd;
    zsl_interp_lin_y_arr((struct zsl_interp_xy *)cd_tbl, CD_N, v, &cd);
    return cd;
}

// air density at altitude, works up to 10 km
static const struct zsl_interp_xy rho_tbl[] = {
    {    0, 1.22500}, {  500, 1.16730}, { 1000, 1.11160}, { 1500, 1.05810},
    { 2000, 1.00640}, { 2500, 0.95710}, { 3000, 0.90990}, { 3500, 0.86460},
    { 4000, 0.82120}, { 4500, 0.77940}, { 5000, 0.73930}, { 5500, 0.70080},
    { 6000, 0.66380}, { 6500, 0.62830}, { 7000, 0.59410}, { 7500, 0.56120},
    { 8000, 0.52950}, { 8500, 0.49890}, { 9000, 0.46920}, { 9500, 0.44060},
    {10000, 0.41310}
};
#define RHO_N   (sizeof(rho_tbl) / sizeof(rho_tbl[0]))

/* ρ(h)   – linear interpolate in the ISA table. */
static inline zsl_real_t air_density_at(zsl_real_t z)
{
    /* Clamp negative altitudes to sea level. */
    if (z < 0.0f) z = 0.0f;

    zsl_real_t rho;
    zsl_interp_lin_y_arr((struct zsl_interp_xy *)rho_tbl, RHO_N, z, &rho);
    return rho;
}

#endif /* AERODYNAMICS_H */
```

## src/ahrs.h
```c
struct ahrs {
    float
}
```

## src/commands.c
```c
#include <zephyr/kernel.h>
#include <zephyr/logging/log.h>
#include <protocol.h>
#include <hilsensor.h>

#include "commands.h"
#include "communication.h"
#include "fjalar.h"
#include "actuation.h"

LOG_MODULE_REGISTER(commands, CONFIG_APP_COMMANDS_LOG_LEVEL);

void handle_set_sudo(set_sudo_t *msg, fjalar_t *fjalar, enum com_channels channel);
void handle_ready_up(ready_up_t *msg, fjalar_t *fjalar, enum com_channels channel);
void handle_enter_idle(enter_idle_t *msg, fjalar_t *fjalar, enum com_channels channel);
void handle_trigger_pyro(trigger_pyro_t *msg, fjalar_t *fjalar, enum com_channels channel);
void handle_clear_flash(clear_flash_t *msg, fjalar_t *fjalar, enum com_channels channel);
void handle_read_flash(read_flash_t *msg, fjalar_t *fjalar, enum com_channels channel);
void handle_hil_in(hil_in_t *msg, fjalar_t *fjalar, enum com_channels channel);

void handle_fjalar_buf(struct protocol_state *ps, fjalar_t *fjalar, uint8_t *buf, int len, enum com_channels channel) {
    fjalar_message_t msg;
    for (int i = 0; i < len; i++) {
        int ret;
        ret = parse_fjalar_message(ps, buf[i], &msg);
        if (ret == 1) {
            handle_fjalar_message(&msg, fjalar, channel);
        } else if (ret == -1) {
            reset_protocol_state(ps);
        }
    }
}

void handle_fjalar_message(fjalar_message_t *msg, fjalar_t *fjalar, enum com_channels channel) {
    LOG_INF("handling msg with id %d", msg->data.which_data);
    switch (msg->data.which_data) {
        case FJALAR_DATA_SET_SUDO_TAG:
            handle_set_sudo(&msg->data.data.set_sudo, fjalar, channel);
            break;

        case FJALAR_DATA_READY_UP_TAG:
            handle_ready_up(&msg->data.data.ready_up, fjalar, channel);
            break;

        case FJALAR_DATA_ENTER_IDLE_TAG:
            handle_enter_idle(&msg->data.data.enter_idle, fjalar, channel);
            break;

        case FJALAR_DATA_TRIGGER_PYRO_TAG:
            handle_trigger_pyro(&msg->data.data.trigger_pyro, fjalar, channel);
            break;

        case FJALAR_DATA_CLEAR_FLASH_TAG:
            handle_clear_flash(&msg->data.data.clear_flash, fjalar, channel);
            break;

        case FJALAR_DATA_READ_FLASH_TAG:
            handle_read_flash(&msg->data.data.read_flash, fjalar, channel);
            break;
        
        case FJALAR_DATA_HIL_IN_TAG:
            handle_hil_in(&msg->data.data.hil_in, fjalar, channel);
            break;
        default:
            LOG_ERR("Unsupported message: %d", msg->data.which_data);
    }
}

void handle_set_sudo(set_sudo_t *msg, fjalar_t *fjalar, enum com_channels channel) {
    fjalar->sudo = msg->enabled;
    LOG_WRN("set sudo %d", msg->enabled);
}

void handle_ready_up(ready_up_t *msg, fjalar_t *fjalar, enum com_channels channel) {
    bool succesful;
    if (fjalar->sudo == true || fjalar->flight_state == STATE_IDLE) {
        fjalar->flight_state = STATE_LAUNCHPAD;
        succesful = true;
        LOG_INF("changing to ready");
    } else {
        succesful = false;
        LOG_INF("couldn't change to ready");
    }
}

void handle_enter_idle(enter_idle_t *msg, fjalar_t *fjalar, enum com_channels channel) {
    bool succesful;
    if (fjalar->sudo == true || fjalar->flight_state == STATE_LAUNCHPAD) {
        fjalar->flight_state = STATE_IDLE;
        succesful = true;
        LOG_INF("changing to idle");
    } else {
        succesful = false;
        LOG_INF("couldn't change to idle");
    }
}

void handle_trigger_pyro(trigger_pyro_t *msg, fjalar_t *fjalar, enum com_channels channel) {
    if (fjalar->sudo != true) {
        LOG_WRN("Tried to enable pyro %d when not in sudo mode", msg->pyro);
        return;
    }
    set_pyro(fjalar, msg->pyro, 1);
    k_msleep(500);
    set_pyro(fjalar, msg->pyro, 0);
}

void handle_clear_flash(clear_flash_t *msg, fjalar_t *fjalar, enum com_channels channel) {
    if (fjalar->sudo != true) {
        LOG_WRN("Tried to clear flash when not in sudo mode");
        return;
    }
    clear_flash(fjalar);
}

void handle_read_flash(read_flash_t *msg, fjalar_t *fjalar, enum com_channels channel) {
    struct fjalar_message resp;
    if (msg->length > sizeof(resp.data.data.flash_data.data.bytes)) {
        LOG_ERR("Requested flash read can't fit in buffer");
        return;
    }
    resp.has_data = true;
    resp.data.which_data = FJALAR_DATA_FLASH_DATA_TAG;
    resp.data.data.flash_data.data.size = msg->length;
    resp.data.data.flash_data.start_index = msg->start_index;
    resp.time = k_uptime_get_32();
    read_flash(fjalar, resp.data.data.flash_data.data.bytes, msg->start_index, msg->length);
    send_response(fjalar, &resp, channel);
}

void handle_hil_in(hil_in_t *msg, fjalar_t *fjalar, enum com_channels channel){
    #if DT_ALIAS_EXISTS(dummysensor) // change name ltr
    const struct device *const hilsensor_dev = DEVICE_DT_GET(DT_ALIAS(hilsensor));
    struct hil_data_t hil_data = {
        .ax = msg->ax;
        .ay = msg->ay;
        .az = msg->az;

        .gx = msg->gx;
        .gy = msg->gy;
        .gz = msg->gz;

        .p = msg->p;

        .lon = msg->lon;
        .lat = msg->lat;
        .alt = msg->alt;
    }

    hilsensor_feed(hilsensor_dev, &hil_data);
    #endif
    
    
}
```

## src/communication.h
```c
#pragma once

#include <zephyr/kernel.h>

#include "fjalar.h"
#include "protocol.h"

enum message_priority {
	MSG_PRIO_LOW,
	MSG_PRIO_HIGH,
};

void init_communication(fjalar_t *fjalar);
void send_message(fjalar_t *fjalar, fjalar_message_t *msg, enum message_priority prio);
void send_response(fjalar_t *fjalar, fjalar_message_t *msg, enum com_channels channel);

void clear_flash(fjalar_t *fjalar);
void read_flash(fjalar_t *fjalar, uint8_t *buf, uint32_t index, uint8_t len);
```

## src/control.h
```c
#pragma once

#include "fjalar.h"
#include "filter.h"
#include "aerodynamics.h"

#define TARGET_APOGEE_AGL       3000.0f

#define SAMPLING_RATE_HZ        100.0f
#define SAMPLING_TIME_S         (1.0f / SAMPLING_RATE_HZ)

// PID Gains (These need to be tuned) 
#define PID_P_GAIN              2.0f
#define PID_I_GAIN              0.5f
#define PID_D_GAIN              0.1f

#define PID_INTEGRAL_MAX        500.0f //Used for anti windup
#define PID_OUTPUT_MAX          1.0f    // Max airbrake deployment is 1.0
#define PID_OUTPUT_MIN          0.0f    // Min airbrake deployment is 0.0

#define x_max                   26.0f
#define x_ret                   41.6f
#define crank_R                 21.0f
#define link_L                  46.6f

typedef struct fjalar fjalar_t;
typedef struct init init_t;

typedef struct control {
    float airbrakes_angle; // rename, idk what you guys need
} control_t;

void init_control(fjalar_t *fjalar);
```

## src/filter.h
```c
#pragma once

#include <zephyr/kernel.h>
#include <zephyr/zbus/zbus.h>
#include <zsl/matrices.h>
#include "fjalar.h"
#include "flight_state.h"

typedef struct fjalar fjalar_t;
typedef struct init init_t;
typedef struct state state_t;

typedef struct filter_output_msg {
    uint32_t timestamp;
    float position[3];    // x, y, z
    float velocity[3];    // vx, vy, vz
    float acceleration[3]; // ax, ay, az
    float attitude[3];     // roll, pitch, yaw
    float v_norm;
    float a_norm;
    float raw_imu[6];     // ax, ay, az, gx, gy, gz
    float raw_baro_p;
    float raw_gps[3];     // lat, lon, alt
}filter_output_msg;

ZBUS_CHAN_DECLARE(filter_output_zchan);

typedef struct position_filter {
    zsl_real_t P_data[81];
    struct zsl_mtx P;
    zsl_real_t X_data[9];
    struct zsl_mtx X;
    zsl_real_t Q_data[81];
    struct zsl_mtx Q;
    zsl_real_t R_data[1];
    struct zsl_mtx R;
    zsl_real_t T_data[9];
    struct zsl_mtx T;
    zsl_real_t Ptwosigma_data[9];
    struct zsl_mtx Ptwosigma;

    float raw_imu_ax;
    float raw_imu_ay;
    float raw_imu_az;

    float raw_baro_p;

    float raw_gps_lat;
    float raw_gps_lon;
    float raw_gps_alt;

    float a_norm;
    float v_norm;

    uint32_t previous_update_accelerometer;
    bool seeded;
} position_filter_t;

typedef struct attitude_filter {
    zsl_real_t P_data[9];
    struct zsl_mtx P;
    zsl_real_t X_data[9];
    struct zsl_mtx X;
    zsl_real_t Q_data[9];
    struct zsl_mtx Q;
    zsl_real_t R_data[9];
    struct zsl_mtx R;

    float phi; // remove? Not used 
    float theta; // remove? Not used
    float psi; // remove? Not used

    float raw_imu_gx;
    float raw_imu_gy;
    float raw_imu_gz;

    uint32_t previous_update_gyroscope;
    bool seeded;
} attitude_filter_t;

void init_filter(fjalar_t *fjalar);
```
